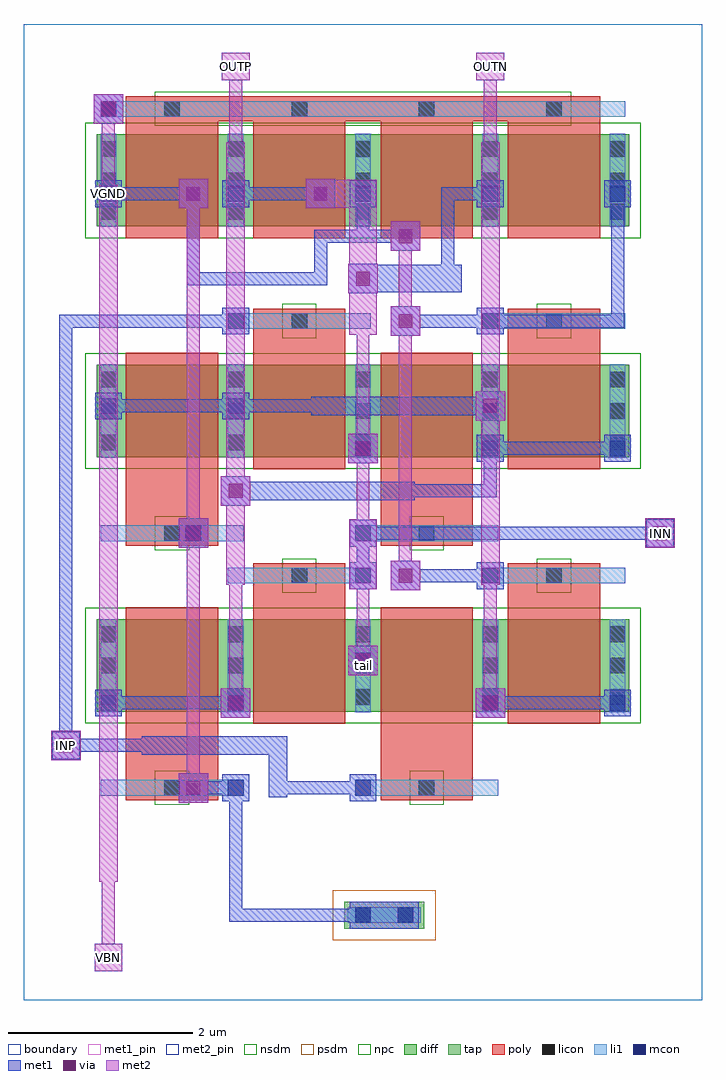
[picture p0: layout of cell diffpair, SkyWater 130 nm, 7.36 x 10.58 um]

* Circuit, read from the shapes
.subckt diffpair INN INP OUTN OUTP VBN VGND tail
XM1 OUTP VGND OUTP VGND sky130_fd_pr__nfet_01v8 w=1 l=1 m=2
XM2 OUTN VGND OUTN VGND sky130_fd_pr__nfet_01v8 w=1 l=1 m=2
XM3 tail VBN VGND VGND sky130_fd_pr__nfet_01v8 w=1 l=1 m=4
XM4 tail INN OUTP VGND sky130_fd_pr__nfet_01v8 w=1 l=1 m=2
XM5 tail INP OUTN VGND sky130_fd_pr__nfet_01v8 w=1 l=1 m=2
.ends

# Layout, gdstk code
import gdstk
lib = gdstk.Library(unit=1e-6, precision=1e-09)
def R(c, l, rs):  # rectangles x0, y0, x1, y1
    for r in rs: c.add(gdstk.rectangle(r[:2], r[2:], *l))
def A(c, l, x, y, w, h, nx, ny, dx, dy):  # array of equal rectangles
    R(c, l, [(x+i*dx, y+j*dy, x+i*dx+w, y+j*dy+h) for i in range(nx) for j in range(ny)])
diff = (65, 20)
tap = (65, 44)
poly = (66, 20)
licon = (66, 44)
li1 = (67, 20)
mcon = (67, 44)
met1_pin = (68, 16)
met1 = (68, 20)
via = (68, 44)
met2_pin = (69, 16)
met2 = (69, 20)
nsdm = (93, 44)
psdm = (94, 20)
npc = (95, 20)
boundary = (235, 4)

diffpair = lib.new_cell('diffpair')
R(diffpair, diff, [(0.795,3.125,6.565,4.125), (0.795,5.885,6.565,6.885), (0.795,8.385,6.565,9.385)])
R(diffpair, tap, [(3.475,0.775,4.345,1.065)])
A(diffpair, poly, 1.11, 8.255, 1, 1.405, 4, 1, 1.38, 0)
R(diffpair, poly, [(1.11,2.165,2.11,2.435), (3.87,2.165,4.87,2.435), (1.11,2.3,2.11,4.255), (3.87,2.3,4.87,4.255), (2.49,2.995,3.49,4.6), (5.25,2.995,6.25,4.6), (2.49,4.465,3.49,4.735), (5.25,4.465,6.25,4.735), (1.11,4.925,2.11,5.195), (3.87,4.925,4.87,5.195), (1.11,5.06,2.11,7.015), (3.87,5.06,4.87,7.015), (2.49,5.755,3.49,7.36), (5.25,5.755,6.25,7.36), (2.49,7.225,3.49,7.495), (5.25,7.225,6.25,7.495), (1.11,9.525,6.25,9.795)])
A(diffpair, licon, 0.835, 3.2, 0.17, 0.17, 5, 3, 1.38, 0.34)
A(diffpair, licon, 0.835, 5.96, 0.17, 0.17, 5, 3, 1.38, 0.34)
A(diffpair, licon, 0.835, 8.46, 0.17, 0.17, 5, 3, 1.38, 0.34)
A(diffpair, licon, 1.525, 9.575, 0.17, 0.17, 4, 1, 1.38, 0)
R(diffpair, licon, [(3.595,0.835,3.765,1.005), (4.055,0.835,4.225,1.005), (1.525,2.215,1.695,2.385), (4.285,2.215,4.455,2.385), (2.905,4.515,3.075,4.685), (5.665,4.515,5.835,4.685), (1.525,4.975,1.695,5.145), (4.285,4.975,4.455,5.145), (2.905,7.275,3.075,7.445), (5.665,7.275,5.835,7.445)])
A(diffpair, li1, 0.835, 3.12, 0.17, 1.01, 5, 2, 1.38, 2.76)
A(diffpair, li1, 0.835, 8.38, 0.17, 1.01, 5, 1, 1.38, 0)
R(diffpair, li1, [(3.515,0.835,4.305,1.005), (0.835,2.215,2.385,2.385), (3.595,2.215,5.145,2.385), (2.215,4.515,3.765,4.685), (4.975,4.515,6.525,4.685), (0.835,4.975,2.385,5.145), (3.595,4.975,5.145,5.145), (2.215,7.275,3.765,7.445), (4.975,7.275,6.525,7.445), (0.835,9.575,6.525,9.745)])
A(diffpair, mcon, 3.595, 0.835, 0.17, 0.17, 1, 3, 0, 1.38)
A(diffpair, mcon, 0.835, 3.135, 0.17, 0.17, 1, 3, 0, 3.22)
A(diffpair, mcon, 3.595, 5.895, 0.17, 0.17, 3, 1, 1.38, 0)
A(diffpair, mcon, 0.835, 8.655, 0.17, 0.17, 5, 1, 1.38, 0)
R(diffpair, mcon, [(4.055,0.835,4.225,1.005), (2.215,2.215,2.385,2.385), (2.215,3.135,2.385,3.305), (4.975,3.135,5.145,3.305), (6.355,3.135,6.525,3.305), (3.595,4.515,3.765,4.685), (4.975,4.515,5.145,4.685), (1.755,4.975,1.925,5.145), (3.595,4.975,3.765,5.145), (2.215,6.355,2.385,6.525), (2.215,7.275,2.385,7.445), (4.975,7.275,5.145,7.445)])
R(diffpair, met1_pin, [(0.775,8.595,1.065,8.885)])
A(diffpair, met1, 0.775, 3.075, 0.29, 0.29, 1, 3, 0, 3.22)
A(diffpair, met1, 3.535, 5.835, 0.29, 0.29, 3, 1, 1.38, 0)
A(diffpair, met1, 0.775, 8.595, 0.29, 0.29, 5, 1, 1.38, 0)
R(diffpair, met1, [(3.535,0.775,4.285,1.065), (2.23,0.85,3.75,0.99), (2.23,0.85,2.37,2.37), (3.61,0.85,3.75,0.99), (1.68,2.14,2,2.46), (2.155,2.155,2.445,2.445), (3.535,2.155,3.825,2.445), (2.66,2.2,2.86,2.86), (1.77,2.23,2.37,2.37), (2.69,2.23,3.75,2.37), (0.3,2.6,0.62,2.92), (1.28,2.66,2.86,2.86), (0.39,2.69,1.45,2.83), (0.39,2.69,0.53,7.43), (2.14,3.06,2.46,3.38), (4.9,3.06,5.22,3.38), (2.155,3.075,2.445,3.365), (4.915,3.075,5.205,3.365), (6.295,3.075,6.585,3.365), (0.85,3.15,2.37,3.29), (4.99,3.15,6.51,3.29), (3.52,3.52,3.84,3.84), (3.535,3.535,3.825,3.825), (3.98,4.44,4.3,4.76), (3.535,4.455,3.825,4.745), (4.915,4.455,5.205,4.745), (3.61,4.53,3.75,5.13), (4.07,4.53,5.13,4.67), (1.68,4.9,2,5.22), (6.74,4.9,7.06,5.22), (1.695,4.915,1.985,5.205), (3.535,4.915,3.825,5.205), (3.61,4.99,6.97,5.13), (2.14,5.36,2.46,5.68), (2.2,5.42,4.24,5.62), (4.07,5.45,5.13,5.59), (4.99,5.45,5.13,6.05), (3.52,5.82,3.84,6.14), (4.99,5.91,6.51,6.05), (4.9,6.28,5.22,6.6), (2.155,6.295,2.445,6.585), (3.12,6.34,5.16,6.54), (0.85,6.37,2.37,6.51), (2.23,6.37,3.29,6.51), (3.98,7.2,4.3,7.52), (2.155,7.215,2.445,7.505), (4.915,7.215,5.205,7.505), (0.39,7.29,2.37,7.43), (4.07,7.29,5.13,7.43), (4.99,7.29,6.51,7.43), (6.37,7.29,6.51,8.81), (3.52,7.66,3.84,7.98), (3.53,7.67,4.75,7.97), (1.77,7.75,1.91,8.81), (1.77,7.75,3.29,7.89), (3.15,7.75,3.29,8.35), (4.53,7.75,4.67,8.81), (3.98,8.12,4.3,8.44), (3.15,8.21,3.75,8.35), (3.61,8.21,4.21,8.35), (3.61,8.21,3.75,8.81), (1.68,8.58,2,8.9), (3.06,8.58,3.38,8.9), (0.85,8.67,1.91,8.81), (2.23,8.67,3.29,8.81), (4.53,8.67,5.13,8.81), (0.76,9.5,1.08,9.82)])
R(diffpair, via, [(1.765,2.225,1.915,2.375), (0.385,2.685,0.535,2.835), (2.225,3.145,2.375,3.295), (4.985,3.145,5.135,3.295), (3.605,3.605,3.755,3.755), (4.065,4.525,4.215,4.675), (1.765,4.985,1.915,5.135), (6.825,4.985,6.975,5.135), (2.225,5.445,2.375,5.595), (3.605,5.905,3.755,6.055), (4.985,6.365,5.135,6.515), (4.065,7.285,4.215,7.435), (3.605,7.745,3.755,7.895), (4.065,8.205,4.215,8.355), (1.765,8.665,1.915,8.815), (3.145,8.665,3.295,8.815), (0.845,9.585,0.995,9.735)])
R(diffpair, met2_pin, [(0.77,0.31,1.07,0.61), (0.31,2.61,0.61,2.91), (6.75,4.91,7.05,5.21), (2.15,9.97,2.45,10.27), (4.91,9.97,5.21,10.27)])
R(diffpair, met2, [(0.77,0.31,1.07,0.61), (0.85,0.39,0.99,1.45), (0.85,0.39,0.99,0.53), (0.82,1.28,1.02,8.84), (1.68,2.14,2,2.46), (1.77,2.23,1.91,5.13), (0.3,2.6,0.62,2.92), (0.31,2.61,0.61,2.91), (0.39,2.69,0.53,2.83), (2.14,3.06,2.46,3.38), (4.9,3.06,5.22,3.38), (2.23,3.15,2.37,4.67), (4.99,3.15,5.13,4.67), (3.52,3.52,3.84,3.84), (3.61,3.61,3.75,4.67), (3.98,4.44,4.3,4.76), (3.53,4.45,3.83,5.21), (2.2,4.5,2.4,9.3), (4.96,4.5,5.16,9.3), (4.07,4.53,4.21,7.43), (1.68,4.9,2,5.22), (6.74,4.9,7.06,5.22), (6.75,4.91,7.05,5.21), (1.77,4.99,1.91,8.81), (3.61,4.99,3.75,6.05), (6.83,4.99,6.97,5.13), (2.14,5.36,2.46,5.68), (3.52,5.82,3.84,6.14), (3.61,5.91,3.75,7.43), (4.9,6.28,5.22,6.6), (3.98,7.2,4.3,7.52), (3.53,7.21,3.83,7.97), (4.07,7.29,4.21,8.35), (3.52,7.66,3.84,7.98), (3.53,7.67,3.83,8.89), (3.98,8.12,4.3,8.44), (1.68,8.58,2,8.9), (3.06,8.58,3.38,8.9), (3.07,8.59,3.83,8.89), (0.85,8.67,0.99,9.73), (2.23,9.13,2.37,10.19), (4.99,9.13,5.13,10.19), (0.76,9.5,1.08,9.82), (2.15,9.97,2.45,10.27), (4.91,9.97,5.21,10.27), (2.23,10.05,2.37,10.19), (4.99,10.05,5.13,10.19)])
R(diffpair, nsdm, [(0.67,3,6.69,4.25), (0.67,5.76,6.69,7.01), (0.67,8.26,6.69,9.51)])
R(diffpair, psdm, [(3.35,0.65,4.47,1.19)])
R(diffpair, npc, [(1.425,2.115,1.795,2.485), (4.185,2.115,4.555,2.485), (2.805,4.415,3.175,4.785), (5.565,4.415,5.935,4.785), (1.425,4.875,1.795,5.245), (4.185,4.875,4.555,5.245), (2.805,7.175,3.175,7.545), (5.565,7.175,5.935,7.545), (1.425,9.475,5.935,9.845)])
R(diffpair, boundary, [(0,0,7.36,10.58)])
diffpair.add(gdstk.Label('tail', (3.68,3.625), layer=67, texttype=5))
diffpair.add(gdstk.Label('VGND', (0.92,8.74), layer=68, texttype=5))
diffpair.add(gdstk.Label('INP', (0.46,2.76), layer=69, texttype=5))
diffpair.add(gdstk.Label('INN', (6.9,5.06), layer=69, texttype=5))
diffpair.add(gdstk.Label('VBN', (0.92,0.46), layer=69, texttype=5))
diffpair.add(gdstk.Label('OUTP', (2.3,10.12), layer=69, texttype=5))
diffpair.add(gdstk.Label('OUTN', (5.06,10.12), layer=69, texttype=5))
diffpair.add(gdstk.Label('VGND', (0.92,8.74), layer=68, texttype=16))
diffpair.add(gdstk.Label('INP', (0.46,2.76), layer=69, texttype=16))
diffpair.add(gdstk.Label('INN', (6.9,5.06), layer=69, texttype=16))
diffpair.add(gdstk.Label('VBN', (0.92,0.46), layer=69, texttype=16))
diffpair.add(gdstk.Label('OUTP', (2.3,10.12), layer=69, texttype=16))
diffpair.add(gdstk.Label('OUTN', (5.06,10.12), layer=69, texttype=16))

lib.write_gds('diffpair.gds')
